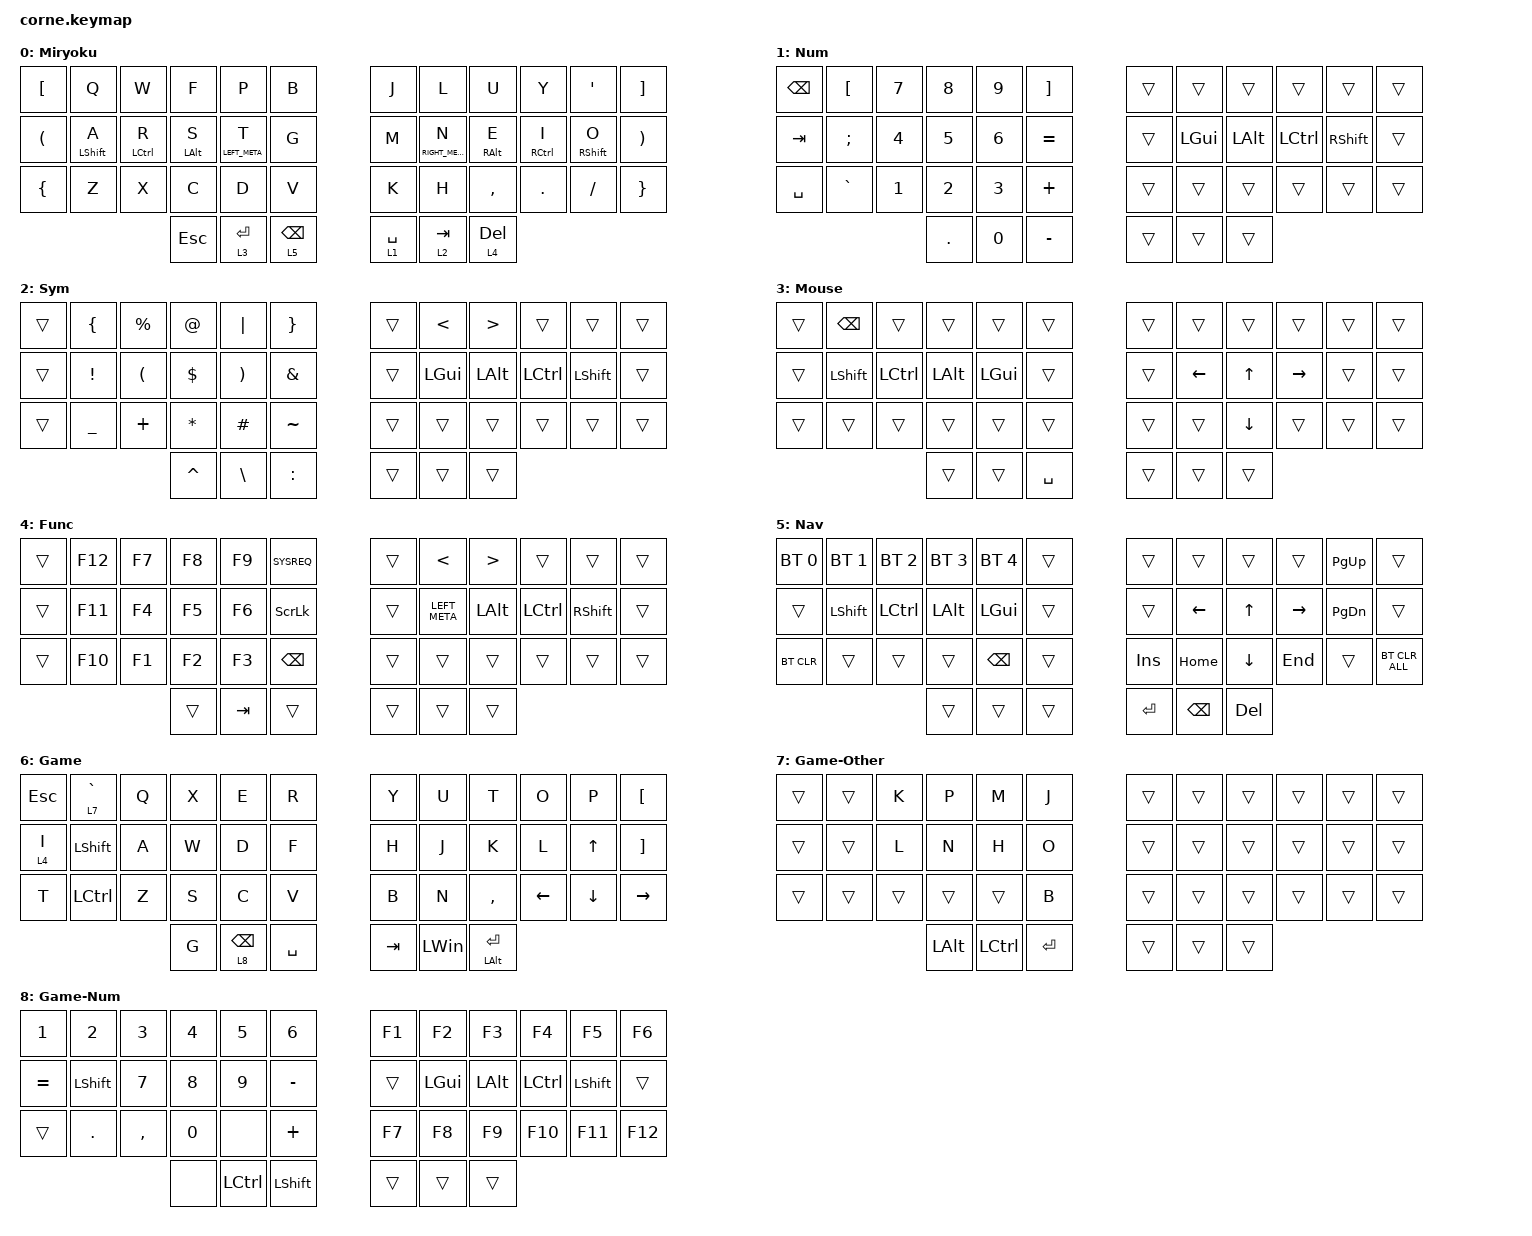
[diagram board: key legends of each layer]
/*
 * Copyright (c) 2020 The ZMK Contributors
 *
 * SPDX-License-Identifier: MIT
 */

#include <behaviors.dtsi>
#include <dt-bindings/zmk/bt.h>
#include <dt-bindings/zmk/keys.h>

&mt {
    tapping-term-ms = <250>;
    flavor = "tap-preferred";
};

/ {
    combos {
        compatible = "zmk,combos";

        To-Game {
            bindings = <&tog 6>;
            key-positions = <0 5>;
        };

        CapsLock {
            bindings = <&kp CAPSLOCK>;
            key-positions = <12 23>;
        };
    };

    keymap {
        compatible = "zmk,keymap";

        Miryoku {
            // -----------------------------------------------------------------------------------------
            // |  TAB |  Q  |  W  |  E  |  R  |  T  |   |  Y  |  U   |  I  |  O  |  P  | BKSP |
            // | CTRL |  A  |  S  |  D  |  F  |  G  |   |  H  |  J   |  K  |  L  |  ;  |  '   |
            // | SHFT |  Z  |  X  |  C  |  V  |  B  |   |  N  |  M   |  ,  |  .  |  /  | ESC  |
            //                    | GUI | LWR | SPC |   | ENT | RSE  | ALT |

            bindings = <
&kp LEFT_BRACKET      &kp Q             &kp W        &kp F           &kp P            &kp B              &kp J        &kp L             &kp U            &kp Y        &kp SQT            &kp RIGHT_BRACKET
&kp LEFT_PARENTHESIS  &mt LEFT_SHIFT A  &mt LCTRL R  &mt LEFT_ALT S  &mt LEFT_META T  &kp G              &kp M        &mt RIGHT_META N  &mt RIGHT_ALT E  &mt RCTRL I  &mt RIGHT_SHIFT O  &kp RIGHT_PARENTHESIS
&kp LEFT_BRACE        &kp Z             &kp X        &kp C           &kp D            &kp V              &kp K        &kp H             &kp COMMA        &kp DOT      &kp FSLH           &kp RIGHT_BRACE
                                                     &kp ESC         &lt 3 RET        &lt 5 BACKSPACE    &lt 1 SPACE  &lt 2 TAB         &lt 4 DEL
            >;
        };

        Num {
            bindings = <
&kp BACKSPACE  &kp LEFT_BRACKET  &kp N7  &kp N8      &kp N9  &kp RIGHT_BRACKET    &trans  &trans    &trans        &trans     &trans     &trans
&kp TAB        &kp SEMI          &kp N4  &kp N5      &kp N6  &kp EQUAL            &trans  &kp LGUI  &kp LEFT_ALT  &kp LCTRL  &kp RSHFT  &trans
&kp SPACE      &kp GRAVE         &kp N1  &kp N2      &kp N3  &kp PLUS             &trans  &trans    &trans        &trans     &trans     &trans
                                         &kp PERIOD  &kp N0  &kp MINUS            &trans  &trans    &trans
            >;
        };

        Sym {
            bindings = <
&trans  &kp LEFT_BRACE   &kp PERCENT           &kp AT_SIGN   &kp PIPE               &kp RIGHT_BRACE    &trans  &kp LESS_THAN  &kp GREATER_THAN  &trans     &trans     &trans
&trans  &kp EXCLAMATION  &kp LEFT_PARENTHESIS  &kp DOLLAR    &kp RIGHT_PARENTHESIS  &kp AMPERSAND      &trans  &kp LGUI       &kp LEFT_ALT      &kp LCTRL  &kp LSHFT  &trans
&trans  &kp UNDERSCORE   &kp PLUS              &kp ASTERISK  &kp HASH               &kp TILDE          &trans  &trans         &trans            &trans     &trans     &trans
                                               &kp CARET     &kp BACKSLASH          &kp COLON          &trans  &trans         &trans
            >;
        };

        Mouse {
            bindings = <
&trans  &kp BSPC   &trans     &trans    &trans    &trans       &trans  &trans          &trans          &trans           &trans  &trans
&trans  &kp LSHFT  &kp LCTRL  &kp LALT  &kp LGUI  &trans       &trans  &kp LEFT_ARROW  &kp UP_ARROW    &kp RIGHT_ARROW  &trans  &trans
&trans  &trans     &trans     &trans    &trans    &trans       &trans  &trans          &kp DOWN_ARROW  &trans           &trans  &trans
                              &trans    &trans    &kp SPACE    &trans  &trans          &trans
            >;
        };

        Func {
            bindings = <
&trans  &kp F12  &kp F7  &kp F8  &kp F9   &kp SYSREQ        &trans  &kp LESS_THAN  &kp GREATER_THAN  &trans     &trans           &trans
&trans  &kp F11  &kp F4  &kp F5  &kp F6   &kp SCROLLLOCK    &trans  &kp LEFT_META  &kp LEFT_ALT      &kp LCTRL  &kp RIGHT_SHIFT  &trans
&trans  &kp F10  &kp F1  &kp F2  &kp F3   &kp BACKSPACE     &trans  &trans         &trans            &trans     &trans           &trans
                         &trans  &kp TAB  &trans            &trans  &trans         &trans
            >;
        };

        Nav {
            bindings = <
&bt BT_SEL 0  &bt BT_SEL 1  &bt BT_SEL 2  &bt BT_SEL 3  &bt BT_SEL 4   &trans    &trans   &trans          &trans    &trans     &kp PG_UP  &trans
&trans        &kp LSHFT     &kp LCTRL     &kp LEFT_ALT  &kp LGUI       &trans    &trans   &kp LEFT_ARROW  &kp UP    &kp RIGHT  &kp PG_DN  &trans
&bt BT_CLR    &trans        &trans        &trans        &kp BACKSPACE  &trans    &kp INS  &kp HOME        &kp DOWN  &kp END    &trans     &bt BT_CLR_ALL
                                          &trans        &trans         &trans    &kp RET  &kp BACKSPACE   &kp DEL
            >;
        };

        Game {
            bindings = <
&kp ESCAPE  &lt 7 GRAVE     &kp Q  &kp X  &kp E            &kp R        &kp Y    &kp U         &kp T               &kp O           &kp P           &kp LEFT_BRACKET
&lt 4 I     &kp LEFT_SHIFT  &kp A  &kp W  &kp D            &kp F        &kp H    &kp J         &kp K               &kp L           &kp UP_ARROW    &kp RIGHT_BRACKET
&kp T       &kp LCTRL       &kp Z  &kp S  &kp C            &kp V        &kp B    &kp N         &kp COMMA           &kp LEFT_ARROW  &kp DOWN_ARROW  &kp RIGHT_ARROW
                                   &kp G  &lt 8 BACKSPACE  &kp SPACE    &kp TAB  &kp LEFT_WIN  &mt LEFT_ALT ENTER
            >;
        };

        Game-Other {
            bindings = <
&trans  &trans  &kp K   &kp P         &kp M      &kp J        &trans  &trans  &trans  &trans  &trans  &trans
&trans  &trans  &kp L   &kp N         &kp H      &kp O        &trans  &trans  &trans  &trans  &trans  &trans
&trans  &trans  &trans  &trans        &trans     &kp B        &trans  &trans  &trans  &trans  &trans  &trans
                        &kp LEFT_ALT  &kp LCTRL  &kp ENTER    &trans  &trans  &trans
            >;
        };

        Game-Num {
            bindings = <
&kp N1     &kp N2     &kp N3     &kp N4  &kp N5     &kp N6            &kp F1  &kp F2    &kp F3    &kp F4     &kp F5     &kp F6
&kp EQUAL  &kp LSHFT  &kp N7     &kp N8  &kp N9     &kp MINUS         &trans  &kp LGUI  &kp LALT  &kp LCTRL  &kp LSHFT  &trans
&trans     &kp DOT    &kp COMMA  &kp N0  &none      &kp PLUS          &kp F7  &kp F8    &kp F9    &kp F10    &kp F11    &kp F12
                                 &none   &kp LCTRL  &kp LEFT_SHIFT    &trans  &trans    &trans
            >;
        };
    };
};
